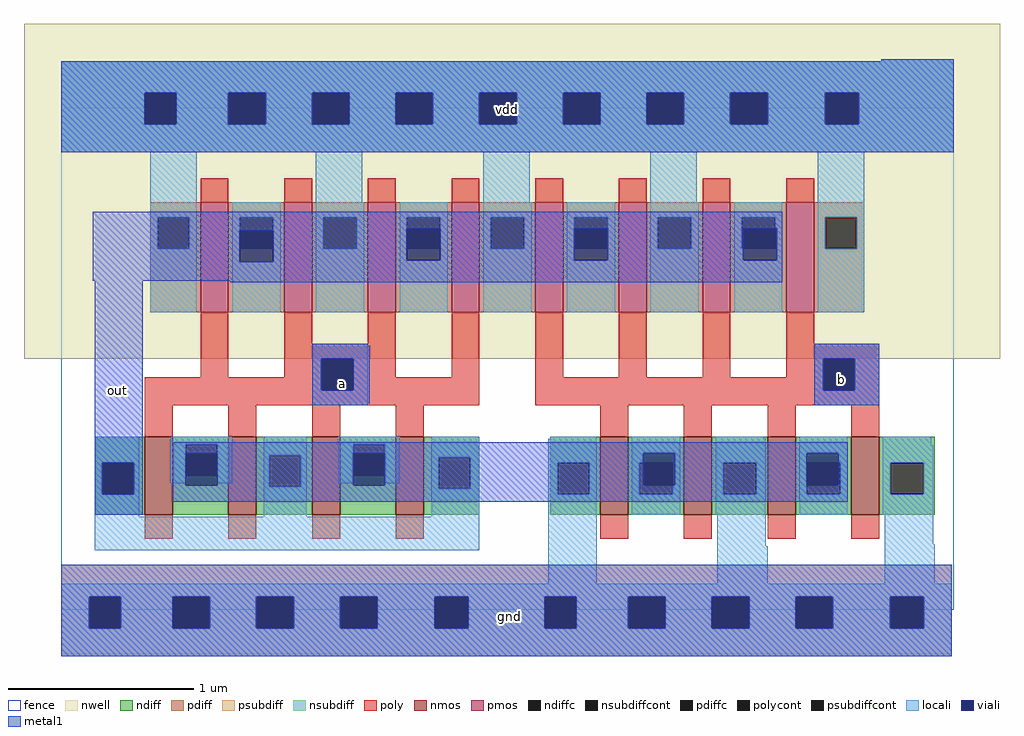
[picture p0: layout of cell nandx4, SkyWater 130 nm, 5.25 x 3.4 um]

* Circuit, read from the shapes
.subckt nandx4 vdd gnd a b out
XM1 n1 a out gnd sky130_fd_pr__nfet_01v8 w=0.42 l=0.15 m=4
XM2 n1 b gnd gnd sky130_fd_pr__nfet_01v8 w=0.42 l=0.15 m=4
XM3 out a vdd vdd sky130_fd_pr__pfet_01v8 w=0.59 l=0.15 m=4
XM4 out b vdd vdd sky130_fd_pr__pfet_01v8 w=0.59 l=0.15 m=4
.ends

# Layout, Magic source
magic
tech sky130A
<< fence >>
rect 0 0 480 270
<< nwell >>
rect -20 135 505 315
<< nmos >>
rect 45 51 60 93
rect 90 51 105 93
rect 135 51 150 93
rect 180 51 195 93
rect 290 51 305 93
rect 335 51 350 93
rect 380 51 395 93
rect 425 51 440 93
<< pmos >>
rect 75 160 90 219
rect 120 160 135 219
rect 165 160 180 219
rect 210 160 225 219
rect 255 160 270 219
rect 300 160 315 219
rect 345 160 360 219
rect 390 160 405 219
<< ndiff >>
rect 18 79 45 93
rect 18 62 22 79
rect 39 62 45 79
rect 18 51 45 62
rect 60 89 90 93
rect 60 72 67 89
rect 84 72 90 89
rect 60 51 90 72
rect 105 83 135 93
rect 105 66 112 83
rect 129 66 135 83
rect 105 51 135 66
rect 150 89 180 93
rect 150 72 157 89
rect 174 72 180 89
rect 150 51 180 72
rect 195 82 225 93
rect 195 65 203 82
rect 220 65 225 82
rect 195 51 225 65
rect 263 79 290 93
rect 263 62 267 79
rect 284 62 290 79
rect 263 51 290 62
rect 305 79 335 93
rect 305 62 311 79
rect 329 62 335 79
rect 305 51 335 62
rect 350 79 380 93
rect 350 62 356 79
rect 374 62 380 79
rect 350 51 380 62
rect 395 79 425 93
rect 395 62 401 79
rect 419 62 425 79
rect 395 51 425 62
rect 440 79 470 93
rect 440 62 446 79
rect 464 62 470 79
rect 440 51 470 62
<< pdiff >>
rect 48 211 75 219
rect 48 194 52 211
rect 69 194 75 211
rect 48 160 75 194
rect 90 211 120 219
rect 90 194 96 211
rect 114 194 120 211
rect 90 160 120 194
rect 135 211 165 219
rect 135 194 141 211
rect 159 194 165 211
rect 135 160 165 194
rect 180 211 210 219
rect 180 194 186 211
rect 204 194 210 211
rect 180 160 210 194
rect 225 211 255 219
rect 225 194 231 211
rect 249 194 255 211
rect 225 160 255 194
rect 270 211 300 219
rect 270 194 276 211
rect 294 194 300 211
rect 270 160 300 194
rect 315 211 345 219
rect 315 194 321 211
rect 339 194 345 211
rect 315 160 345 194
rect 360 211 390 219
rect 360 194 366 211
rect 384 194 390 211
rect 360 160 390 194
rect 405 211 432 219
rect 405 194 411 211
rect 428 194 432 211
rect 405 160 432 194
<< ndiffc >>
rect 22 62 39 79
rect 67 72 84 89
rect 112 66 129 83
rect 157 72 174 89
rect 203 65 220 82
rect 267 62 284 79
rect 311 62 329 79
rect 356 62 374 79
rect 401 62 419 79
rect 446 62 464 79
<< pdiffc >>
rect 52 194 69 211
rect 96 194 114 211
rect 141 194 159 211
rect 186 194 204 211
rect 231 194 249 211
rect 276 194 294 211
rect 321 194 339 211
rect 366 194 384 211
rect 411 194 428 211
<< psubdiff >>
rect 0 7 479 24
rect 0 -10 15 7
rect 32 -10 60 7
rect 80 -10 105 7
rect 125 -10 150 7
rect 170 -10 201 7
rect 219 -10 260 7
rect 277 -10 305 7
rect 325 -10 350 7
rect 370 -10 395 7
rect 415 -10 446 7
rect 464 -10 479 7
rect 0 -24 479 -10
rect 225 -25 255 -24
<< nsubdiff >>
rect 441 295 480 296
rect 0 278 480 295
rect 0 261 45 278
rect 62 261 90 278
rect 110 261 135 278
rect 155 261 180 278
rect 200 261 225 278
rect 245 261 270 278
rect 290 261 315 278
rect 335 261 360 278
rect 380 261 411 278
rect 429 261 480 278
rect 0 246 480 261
<< psubdiffcont >>
rect 15 -10 32 7
rect 60 -10 80 7
rect 105 -10 125 7
rect 150 -10 170 7
rect 201 -10 219 7
rect 260 -10 277 7
rect 305 -10 325 7
rect 350 -10 370 7
rect 395 -10 415 7
rect 446 -10 464 7
<< nsubdiffcont >>
rect 45 261 62 278
rect 90 261 110 278
rect 135 261 155 278
rect 180 261 200 278
rect 225 261 245 278
rect 270 261 290 278
rect 315 261 335 278
rect 360 261 380 278
rect 411 261 429 278
<< poly >>
rect 75 219 90 232
rect 120 219 135 232
rect 165 219 180 232
rect 210 219 225 232
rect 255 219 270 232
rect 300 219 315 232
rect 345 219 360 232
rect 390 219 405 232
rect 75 125 90 160
rect 120 143 135 160
rect 165 143 180 160
rect 120 135 180 143
rect 120 125 140 135
rect 45 118 140 125
rect 157 125 180 135
rect 210 125 225 160
rect 157 118 225 125
rect 45 110 225 118
rect 255 125 270 160
rect 300 125 315 160
rect 345 125 360 160
rect 390 143 405 160
rect 390 135 440 143
rect 390 125 410 135
rect 255 118 410 125
rect 427 118 440 135
rect 255 110 440 118
rect 45 93 60 110
rect 90 93 105 110
rect 135 93 150 110
rect 180 93 195 110
rect 290 93 305 110
rect 335 93 350 110
rect 380 93 395 110
rect 425 93 440 110
rect 45 38 60 51
rect 90 38 105 51
rect 135 38 150 51
rect 180 38 195 51
rect 290 38 305 51
rect 335 38 350 51
rect 380 38 395 51
rect 425 38 440 51
<< polycont >>
rect 140 118 157 135
rect 410 118 427 135
<< locali >>
rect 441 295 480 296
rect 0 278 480 295
rect 0 261 45 278
rect 62 261 90 278
rect 110 261 135 278
rect 155 261 180 278
rect 200 261 225 278
rect 245 261 270 278
rect 290 261 315 278
rect 335 261 360 278
rect 380 261 411 278
rect 429 261 480 278
rect 0 246 480 261
rect 48 211 73 246
rect 137 219 162 246
rect 227 219 252 246
rect 317 219 342 246
rect 48 194 52 211
rect 69 194 73 211
rect 48 160 73 194
rect 92 211 118 219
rect 92 187 96 211
rect 114 187 118 211
rect 92 160 118 187
rect 137 211 163 219
rect 137 194 141 211
rect 159 194 163 211
rect 137 160 163 194
rect 182 211 208 219
rect 182 188 186 211
rect 204 188 208 211
rect 182 160 208 188
rect 227 211 253 219
rect 227 194 231 211
rect 249 194 253 211
rect 227 160 253 194
rect 272 211 298 219
rect 272 188 276 211
rect 294 188 298 211
rect 272 160 298 188
rect 317 211 343 219
rect 317 194 321 211
rect 339 194 343 211
rect 317 160 343 194
rect 362 211 388 219
rect 362 194 366 211
rect 384 205 388 211
rect 362 188 367 194
rect 385 188 388 205
rect 362 160 388 188
rect 407 211 432 246
rect 407 194 411 211
rect 428 194 432 211
rect 407 160 432 194
rect 135 135 165 143
rect 135 118 140 135
rect 157 118 165 135
rect 135 110 165 118
rect 405 135 440 143
rect 405 118 410 135
rect 427 118 440 135
rect 405 110 440 118
rect 18 79 42 93
rect 18 62 22 79
rect 39 62 42 79
rect 59 89 92 93
rect 59 68 67 89
rect 84 68 92 89
rect 109 83 132 93
rect 18 50 42 62
rect 109 66 112 83
rect 129 66 132 83
rect 149 89 182 93
rect 149 68 157 89
rect 174 68 182 89
rect 199 82 225 93
rect 263 92 288 93
rect 109 50 132 66
rect 199 65 203 82
rect 220 65 225 82
rect 199 50 225 65
rect 18 32 225 50
rect 262 79 288 92
rect 262 62 267 79
rect 284 62 288 79
rect 262 14 288 62
rect 307 84 333 93
rect 307 79 313 84
rect 307 62 311 79
rect 330 67 333 84
rect 329 62 333 67
rect 307 51 333 62
rect 352 92 378 93
rect 352 79 379 92
rect 352 62 356 79
rect 374 62 379 79
rect 352 51 379 62
rect 397 84 423 93
rect 397 62 401 84
rect 418 79 423 84
rect 419 62 423 79
rect 397 51 423 62
rect 442 88 468 93
rect 442 79 469 88
rect 442 62 446 79
rect 464 62 469 79
rect 442 51 469 62
rect 353 34 379 51
rect 443 35 469 51
rect 353 14 380 34
rect 443 14 470 35
rect 0 7 479 14
rect 0 -10 15 7
rect 32 -10 60 7
rect 80 -10 105 7
rect 125 -10 150 7
rect 170 -10 201 7
rect 219 -10 260 7
rect 277 -10 305 7
rect 325 -10 350 7
rect 370 -10 395 7
rect 415 -10 446 7
rect 464 -10 479 7
rect 0 -25 479 -10
<< viali >>
rect 45 261 62 278
rect 90 261 110 278
rect 135 261 155 278
rect 180 261 200 278
rect 225 261 245 278
rect 270 261 290 278
rect 315 261 335 278
rect 360 261 380 278
rect 411 261 429 278
rect 96 194 114 204
rect 96 187 114 194
rect 186 194 204 205
rect 186 188 204 194
rect 276 194 294 205
rect 276 188 294 194
rect 367 194 384 205
rect 384 194 385 205
rect 367 188 385 194
rect 140 118 157 135
rect 410 118 427 135
rect 22 62 39 79
rect 67 72 84 84
rect 67 67 84 72
rect 157 72 174 84
rect 157 67 174 72
rect 313 79 330 84
rect 313 67 329 79
rect 329 67 330 79
rect 401 79 418 84
rect 401 67 418 79
rect 15 -10 32 7
rect 60 -10 80 7
rect 105 -10 125 7
rect 150 -10 170 7
rect 201 -10 219 7
rect 260 -10 277 7
rect 305 -10 325 7
rect 350 -10 370 7
rect 395 -10 415 7
rect 446 -10 464 7
<< metal1 >>
rect 441 295 480 296
rect 0 278 480 295
rect 0 261 45 278
rect 62 261 90 278
rect 110 261 135 278
rect 155 261 180 278
rect 200 261 225 278
rect 245 261 270 278
rect 290 261 315 278
rect 335 261 360 278
rect 380 261 411 278
rect 429 261 480 278
rect 0 246 480 261
rect 17 205 388 214
rect 17 204 186 205
rect 17 187 96 204
rect 114 188 186 204
rect 204 188 276 205
rect 294 188 367 205
rect 385 188 388 205
rect 114 187 388 188
rect 17 177 388 187
rect 18 79 44 177
rect 91 176 388 177
rect 135 142 165 143
rect 135 135 166 142
rect 135 118 140 135
rect 157 118 166 135
rect 135 111 166 118
rect 405 135 440 143
rect 405 118 410 135
rect 427 118 440 135
rect 135 110 165 111
rect 405 110 440 118
rect 18 62 22 79
rect 39 62 44 79
rect 18 51 44 62
rect 60 84 423 90
rect 60 67 67 84
rect 84 67 157 84
rect 174 67 313 84
rect 330 67 401 84
rect 418 67 423 84
rect 60 58 423 67
rect 0 7 479 24
rect 0 -10 15 7
rect 32 -10 60 7
rect 80 -10 105 7
rect 125 -10 150 7
rect 170 -10 201 7
rect 219 -10 260 7
rect 277 -10 305 7
rect 325 -10 350 7
rect 370 -10 395 7
rect 415 -10 446 7
rect 464 -10 479 7
rect 0 -25 479 -10
<< labels >>
rlabel nwell 15 251 465 287 1 vdd
port 1 n
rlabel metal1 12 -21 470 13 1 gnd
port 2 n
rlabel metal1 140 114 163 129 1 a
port 3 n
rlabel metal1 408 116 431 131 1 b
port 4 n
rlabel metal1 23 111 38 125 1 out
port 5 n
<< end >>
